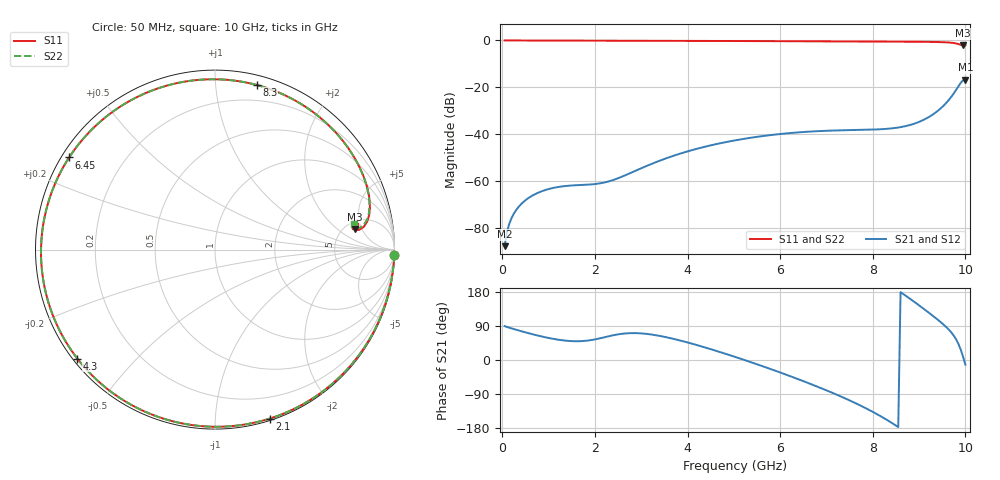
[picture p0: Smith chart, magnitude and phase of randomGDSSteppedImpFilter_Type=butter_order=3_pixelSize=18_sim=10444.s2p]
! freq	dB(S11)	phase(S11)	dB(S12)	phase(S12)
!  dB(S21)	phase(S21)	dB(S22)	phase(S22)
!S-par simulation data
#  GHz  S  DB  R 50
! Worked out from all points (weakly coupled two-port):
!   200 points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, 50 MHz to 10 GHz, reference 50 ohm
!   highest |S21| = -16.71 dB at 10 GHz (marker M1); lowest = -87.9 dB at 50 MHz (marker M2)
!   lowest |S11| = -2.1 dB at 9.95 GHz (marker M3), VSWR 8.34, Z = 306 + j182 ohm
!   |S11| at or under -10 dB: nowhere
!   |S22| runs from -2.1 to 0.0 dB; largest |S21 - S12| = 0
!   S11 on the Smith chart (normalised r, x): 50 MHz: 0, -63; 2.1 GHz: 0.02, -1.37; 4.3 GHz: 0.01, -0.35; 6.45 GHz: 0.02, +0.29; 8.3 GHz: 0.07, +1.28; 10 GHz: 5.60, +3.98
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0.05  -0.00 -1.8  -87.88 89.6  -87.88 89.6  -0.00 -1.8
0.1  -0.01 -3.6  -81.86 87.2  -81.86 87.2  -0.01 -3.6
0.35  -0.02 -12.4  -71.15 78.0  -71.15 78.0  -0.02 -12.4
0.65  -0.03 -22.9  -66.27 68.1  -66.27 68.1  -0.03 -22.9
1.1  -0.05 -38.5  -63.00 55.7  -63.00 55.7  -0.05 -38.5
1.75  -0.08 -60.5  -61.70 50.1  -61.70 50.1  -0.08 -60.5
2.1  -0.09 -72.1  -61.08 56.9  -61.08 56.9  -0.09 -72.1
2.75  -0.12 -93.1  -56.79 70.8  -56.79 70.8  -0.12 -93.1
3.4  -0.14 -113.6  -51.36 63.6  -51.36 63.6  -0.14 -113.6
4.3  -0.19 -141.7  -45.78 36.0  -45.78 36.0  -0.19 -141.6
5.05  -0.24 -165.3  -42.60 7.3  -42.60 7.3  -0.24 -165.1
5.75  -0.29 171.9  -40.53 -21.9  -40.53 -21.9  -0.29 172.1
6.45  -0.34 147.7  -39.18 -53.4  -39.18 -53.4  -0.34 148.0
6.7  -0.36 138.7  -38.86 -65.3  -38.86 -65.3  -0.36 139.0
7.55  -0.43 106.3  -38.29 -109.5  -38.29 -109.5  -0.42 106.7
8.3  -0.48 75.7  -37.76 -157.7  -37.76 -157.7  -0.48 76.2
8.35  -0.48 73.6  -37.68 -161.4  -37.68 -161.4  -0.48 74.1
8.85  -0.53 52.5  -35.86 157.6  -35.86 157.6  -0.53 53.0
9.25  -0.61 35.3  -32.25 121.1  -32.25 121.1  -0.61 35.9
9.7  -0.97 15.1  -23.96 72.1  -23.96 72.1  -0.97 15.7
9.95  -2.09 8.3  -17.03 8.4  -17.03 8.4  -2.09 8.9
10  -2.05 9.8  -16.71 -12.4  -16.71 -12.4  -2.05 10.4
